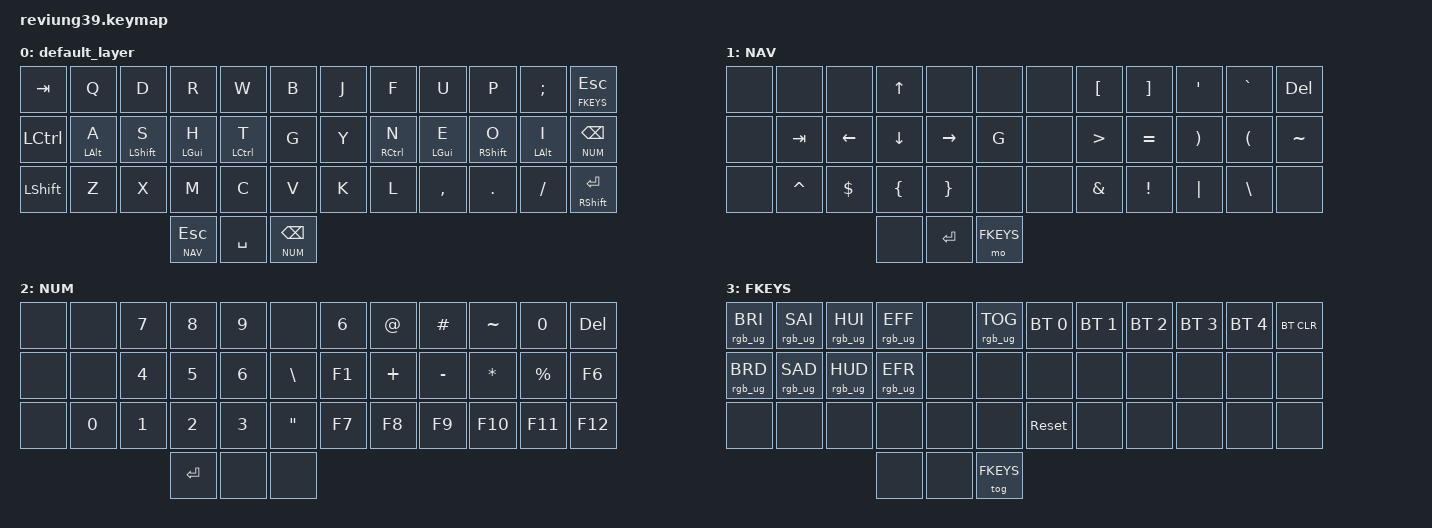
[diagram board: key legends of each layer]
/*
 * Copyright (c) 2020 The ZMK Contributors
 *
 * SPDX-License-Identifier: MIT
 */

#include <behaviors.dtsi>
#include <dt-bindings/zmk/keys.h>
#include <dt-bindings/zmk/bt.h>
#include <dt-bindings/zmk/rgb.h>


#define DEFAULT 0
#define NAV 1
#define NUM 2
#define FKEYS 3

/ {
behaviors { 
     hm: homerow_mods {     
        compatible = "zmk,behavior-hold-tap";
        label = "HOMEROW_MODS";
        #binding-cells = <2>;
        tapping-term-ms = <250>;
        quick-tap-ms = <0>;
        flavor = "tap-preferred";
        bindings = <&kp>, <&kp>;
      };
     hplt: hold_preferred-lt {     
        compatible = "zmk,behavior-hold-tap";
        label = "HOLD_PREFERRED_LT";
        #binding-cells = <2>;
        tapping-term-ms = <195>;
        quick-tap-ms = <0>;
        flavor = "hold-preferred";
        bindings = <&mo>, <&kp>;
      };
     hms: homerow_mod_shift {     
        compatible = "zmk,behavior-hold-tap";
        label = "HOMEROW_MOD_SHIFT";
        #binding-cells = <2>;
        tapping-term-ms = <170>;
        quick-tap-ms = <0>;
        flavor = "balanced";
        bindings = <&kp>, <&kp>;
      };
    };
        keymap {
                compatible = "zmk,keymap";

                default_layer {
// -------------------------------------------------------------------------------------
// |  TAB |  Q  |  W  |  E  |  R  |  T  |   |  Y  |  U   |  I  |  O  |  P  |   BKSP    |
// | CTRL |  A  |  S  |  D  |  F  |  G  |   |  H  |  J   |  K  |  L  |  ;  |    '      |
// | SHFT |  Z  |  X  |  C  |  V  |  B  |   |  N  |  M   |  ,  |  .  |  /  | SHFT(RET) |
//                         | NAV | SPACE | NUM |
                        bindings = <
   &kp TAB   &kp Q        &kp D         &kp R       &kp W       &kp B   &kp J &kp F       &kp U       &kp P         &kp SEMI    &hplt FKEYS ESC  
   &kp LCTRL &hm LALT A   &hms LSHFT S  &hm LGUI H  &hm LCTRL T &kp G   &kp Y &hm RCTRL N &hm LGUI E  &hms RSHFT O  &hm LALT I  &hplt NUM BSPC
   &kp LSHFT &kp Z        &kp X         &kp M       &kp C       &kp V   &kp K &kp L       &kp COMMA   &kp DOT       &kp FSLH    &mt RSHFT RET
                                         &hplt NAV ESC &kp SPACE &hplt NUM BSPC
                        >;
                };
                NAV {
// ------------------------------------------------------------------------------------
// |    |  !  |  @  |  #  |  $  |  %  |   |  ^  |  &  |  *  |  (  |  )  |      DEL    |
// |    |  _  |  +  |  {  |  }  | "|" |   | LFT | DWN |  UP | RGT |  `  |       ~     |
// |    | ESC | GUI | ALT | CAPS|  "  |   | HOME| END | PGUP| PGDN| PRSC| SHFT(SPACE) |
//                       | NAV | SPACE | FKEYS |
                        bindings = <
   &none &none       &none       &kp UP      &none       &none          &none      &kp LBKT &kp RBKT   &kp SQT   &kp GRAVE &kp DEL
   &none &kp TAB     &kp LEFT    &kp DOWN    &kp RIGHT   &kp G          &none      &kp GT   &kp EQUAL  &kp RPAR  &kp LPAR  &kp TILDE
   &none &kp CARET   &kp DLLR    &kp LBRC    &kp RBRC    &none          &none      &kp AMPS  &kp EXCL  &kp PIPE  &kp BSLH  &none
                                         &none &kp RET &mo FKEYS
                        >;
                };

                NUM {
// ----------------------------------------------------------------------------
// |    |  1  |  2  |  3  |  4  |  5  |   |  6  |  7  |  8  |  9  |  0  | DEL |
// |    |  -  |  =  |  [  |  ]  |  \  |   | F1  | F2  | F3  | F4  | F5  | F6  |
// |    | ESC | GUI | ALT | CAPS|  "  |   | F7  | F8  | F9  | F10 | F11 | F12 |
//                       | RET | NONE | NONE |
                        bindings = <
   &none  &none     &kp N7    &kp N8    &kp N9        &none         &kp N6    &kp AT    &kp HASH   &kp TILDE   &kp N0    &kp DEL
   &none  &none     &kp N4    &kp N5    &kp N6        &kp BSLH      &kp F1    &kp PLUS  &kp MINUS  &kp STAR    &kp PRCNT &kp F6
   &none  &kp N0    &kp N1    &kp N2    &kp N3        &kp DQT       &kp F7    &kp F8    &kp F9     &kp F10     &kp F11   &kp F12
                                         &kp RET &none &none
                        >;
                };

                FKEYS {
// -----------------------------------------------------------------------------------------
// | RGB BRI+ | RGB SAT+ | RGB HUE+ | RGB ANI+ |    | RGB TOG |   |  BT1  | BT2 | BT3 | BT4 | BT5 | BT CLR |
// | RGB BRI- | RGB SAT- | RGB HUE- | RGB ANI- |    |         |   |       |     |     |     |     |        |
// |          |          |          |          |    |         |   | RESET |     |     |     |     |        |
//                                  | NONE | NONE | TOG FKEYS |
                        bindings = <
   &rgb_ug RGB_BRI &rgb_ug RGB_SAI &rgb_ug RGB_HUI &rgb_ug RGB_EFF &none &rgb_ug RGB_TOG    &bt BT_SEL 0 &bt BT_SEL 1 &bt BT_SEL 2 &bt BT_SEL 3 &bt BT_SEL 4 &bt BT_CLR
   &rgb_ug RGB_BRD &rgb_ug RGB_SAD &rgb_ug RGB_HUD &rgb_ug RGB_EFR &none &none              &none        &none        &none        &none        &none        &none
   &none           &none           &none           &none           &none &none              &sys_reset       &none        &none        &none        &none        &none
                                         &none &none &tog FKEYS
                        >;
                };
        };
};
